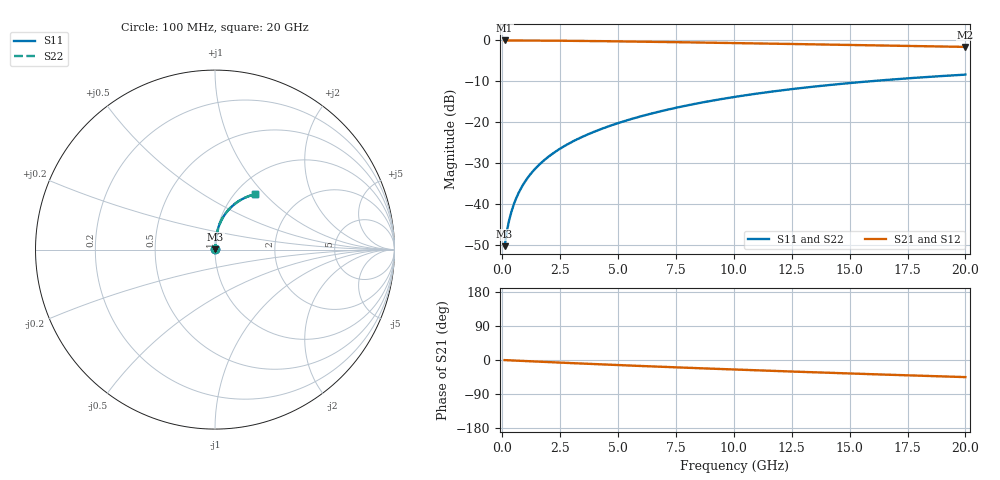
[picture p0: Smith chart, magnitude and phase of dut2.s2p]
! Touchstone file exported from HFSS 2024.1.0
!  File:  C:/UserFiles/LocalFiles/RDL_TSV_Batchsim/temp_RDL_bottom_2_1778690878.aedt
!  Generated:  12:50:24 AM May 14, 2026
!  Design:  RDL_bottom
!  Project:  temp_RDL_bottom_2_1778690878
!  Setup:  Setup1
!  Solution:  Sweep
! Variables:
!  dtsv = 10.80580581um
!  hbump = 3um
!  htsv = 82.58um
!  ldown = 655.4um
!  lrdl = 100um
!  p = 40
!  p1 = 52.73um
!  rhole = 1um
!  t = 450um
!  tdown = 4.83um
!  trdl = 3.915915916um
!  wdown = 22.91um
!  wrdl = 20um
# GHz S MA R 50.000000
! Terminal data exported
! Port[1] = RDL1_T1
! Port[2] = RDL1_T2
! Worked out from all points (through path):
!   200 points, 100 MHz to 20 GHz, reference 50 ohm
!   highest |S21| = -0.02 dB at 100 MHz (marker M1); lowest = -1.6 dB at 20 GHz (marker M2)
!   group delay of S21, straight-line fit = 6.21 ps
!   lowest |S11| = -50.2 dB at 100 MHz (marker M3), VSWR 1.01, Z = 50.2 + j0.209 ohm
!   |S11| at or under -10 dB: start of sweep to 15.84 GHz
!   |S22| runs from -50.2 to -8.4 dB; largest |S21 - S12| = 2e-14
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0.1  0.003082 42.5  0.9977 -0.3  0.9977 -0.3  0.003082 42.5
! Gamma 0 0 0 0
! Port Impedance 50 0 50 0
0.2  0.00472 59.1  0.9975 -0.6  0.9975 -0.6  0.00472 59.1
0.3  0.006463 66.7  0.9974 -0.9  0.9974 -0.9  0.006463 66.7
0.4  0.008234 71.2  0.9972 -1.1  0.9972 -1.1  0.008234 71.2
0.5  0.01003 74.2  0.997 -1.4  0.997 -1.4  0.01003 74.2
0.6  0.01184 76.4  0.9969 -1.7  0.9969 -1.7  0.01184 76.4
0.8  0.01552 79.2  0.9965 -2.2  0.9965 -2.2  0.01552 79.2
1.1  0.02111 81.6  0.9958 -3.1  0.9958 -3.1  0.02111 81.6
1.5  0.02864 83.1  0.9946 -4.2  0.9946 -4.2  0.02864 83.2
1.8  0.03434 83.8  0.9935 -5.0  0.9935 -5.0  0.03434 83.8
2.1  0.04007 84.1  0.9922 -5.8  0.9922 -5.8  0.04008 84.1
2.7  0.05167 84.4  0.9891 -7.4  0.9891 -7.4  0.05167 84.4
3.5  0.0674 84.2  0.9841 -9.5  0.9841 -9.5  0.06742 84.2
4.2  0.08145 83.7  0.9792 -11.3  0.9792 -11.3  0.08147 83.8
5  0.09782 82.9  0.9729 -13.4  0.9729 -13.4  0.09785 83.0
6.8  0.1356 80.4  0.9574 -17.7  0.9574 -17.7  0.1357 80.4
8.4  0.1697 77.5  0.9427 -21.5  0.9427 -21.5  0.1698 77.5
10.1  0.2056 74.1  0.9267 -25.3  0.9267 -25.3  0.2057 74.1
11.7  0.2383 70.8  0.9113 -28.7  0.9113 -28.7  0.2385 70.8
13.4  0.2717 67.2  0.8949 -32.3  0.8949 -32.3  0.2718 67.2
16.7  0.3308 60.3  0.8633 -38.9  0.8633 -38.9  0.331 60.4
20  0.3821 53.9  0.8324 -45.1  0.8324 -45.1  0.3823 53.9
